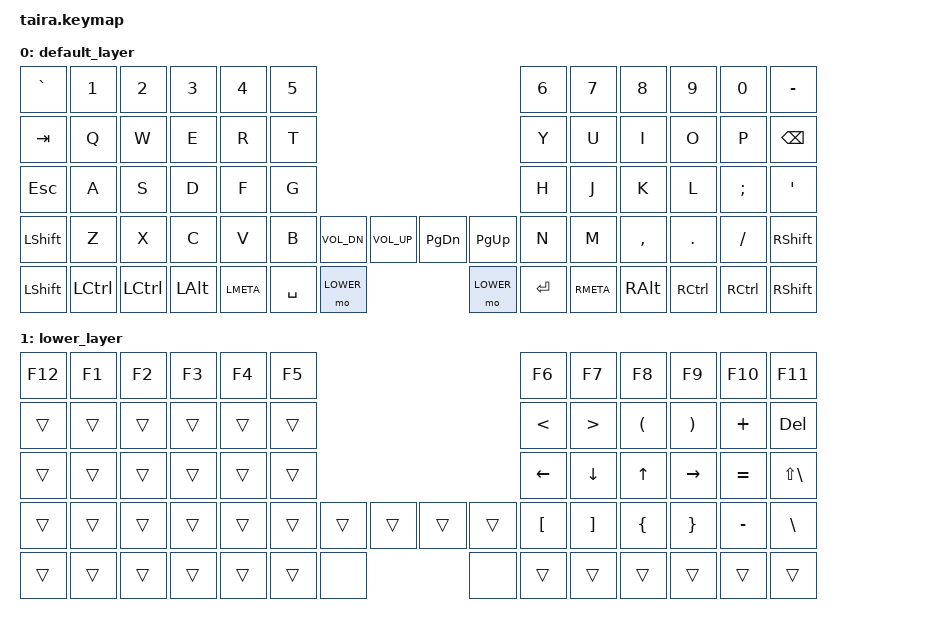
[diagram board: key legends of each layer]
/*
 * Copyright (c) 2020 The ZMK Contributors
 *
 * SPDX-License-Identifier: MIT
 */

#include <behaviors.dtsi>
#include <dt-bindings/zmk/keys.h>
#include <dt-bindings/zmk/outputs.h>
#include <dt-bindings/zmk/bt.h>

#define DEFAULT 0
#define LOWER   1

/ {

        keymap {
                compatible = "zmk,keymap";

                default_layer {

                        bindings = <
&kp  GRAVE    &kp  N1    &kp  N2     &kp  N3     &kp  N4    &kp  N5                                                                                     &kp  N6  &kp  N7    &kp  N8     &kp  N9    &kp  N0       &kp  MINUS
&kp  TAB      &kp  Q     &kp  W      &kp  E      &kp  R     &kp  T                                                                                      &kp  Y   &kp  U     &kp  I      &kp  O     &kp  P        &kp  BSPC
&kp  ESC      &kp  A     &kp  S      &kp  D      &kp  F     &kp  G                                                                                      &kp  H   &kp  J     &kp  K      &kp  L     &kp  SEMI     &kp  SQT
&kp  LSHFT    &kp  Z     &kp  X      &kp  C      &kp  V     &kp  B             &kp  C_VOL_DN    &kp  C_VOL_UP   &kp  PG_DN  &kp  PG_UP                  &kp  N   &kp  M     &kp  COMMA  &kp  DOT   &kp  SLASH    &kp  RSHFT
&kp  LSHFT    &kp LCTRL  &kp  LCTRL  &kp  LALT                       &kp LMETA &kp  SPACE       &mo  LOWER      &mo  LOWER  &kp  ENTER  &kp  RMETA                          &kp  RALT   &kp  RCTRL &kp  RCTRL    &kp  RSHFT
                        >;
                };

                lower_layer {

                        bindings = <
&kp F12        &kp  F1      &kp  F2      &kp  F3     &kp  F4     &kp  F5                                                                        &kp  F6    &kp  F7    &kp  F8     &kp  F9     &kp  F10      &kp  F11
&trans         &trans       &trans       &trans      &trans      &trans                                                                         &kp  LT    &kp  GT    &kp  LPAR   &kp  RPAR   &kp  PLUS     &kp  DEL
&trans         &trans       &trans       &trans      &trans      &trans                                                                         &kp  LEFT  &kp  DOWN  &kp  UP     &kp  RIGHT  &kp  EQUAL    &kp LS(BSLH)
&trans         &trans       &trans       &trans      &trans      &trans             &trans      &trans       &trans     &trans                  &kp  LBKT  &kp  RBKT  &kp  LBRC   &kp  RBRC   &kp  MINUS    &kp BSLH
&trans         &trans       &trans       &trans                           &trans    &trans      &none        &none      &trans    &trans                              &trans      &trans      &trans        &trans
                        >;
                };

        };
};
